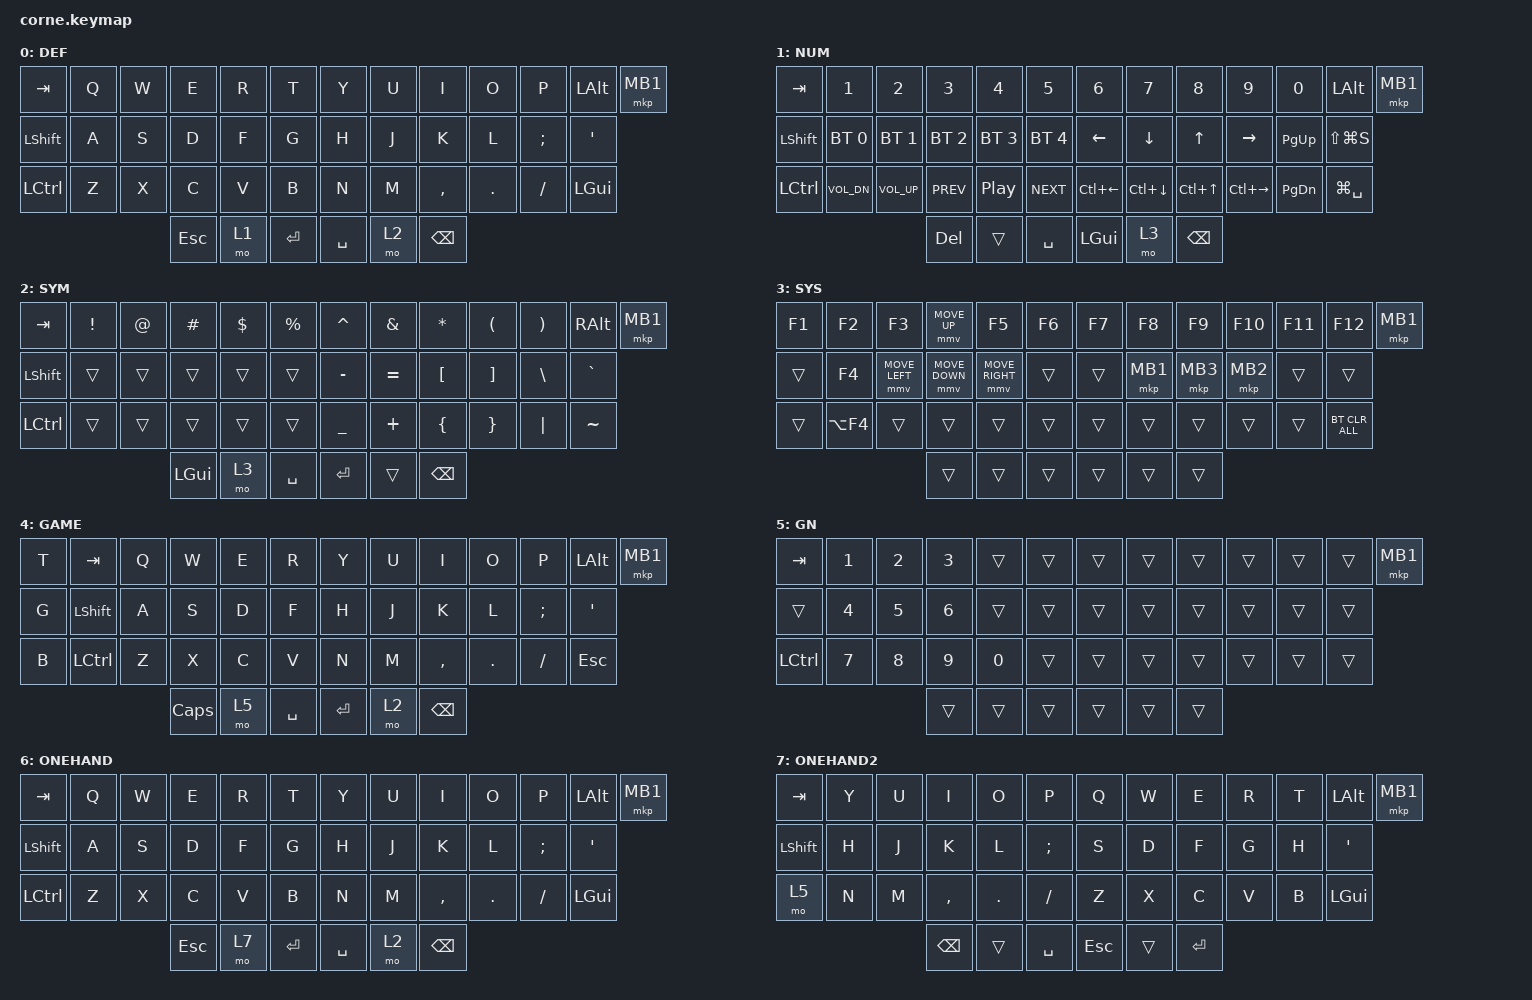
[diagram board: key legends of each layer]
/*
 * Copyright (c) 2020 The ZMK Contributors
 *
 * SPDX-License-Identifier: MIT
 */

#include <behaviors.dtsi>
#include <dt-bindings/zmk/bt.h>
#include <dt-bindings/zmk/keys.h>
#include <dt-bindings/zmk/pointing.h>

//&led_strip { chain-length = <27>; };

/ {
    macros {
        screenshot_mac_4: screenshot_mac_4 {
            compatible = "zmk,behavior-macro";
            #binding-cells = <0>;
            bindings = <&none>;
            label = "SCREENSHOT_MAC_4";
        };
    };

    combos {
        compatible = "zmk,combos";

        to_gaming {
            bindings = <&to 4>;
            key-positions = <12 13 14>;
        };

        to_first {
            bindings = <&to 0>;
            key-positions = <24 25 26>;
        };

        goto_onehand {
            bindings = <&to 6>;
            key-positions = <0 1 2>;
        };
    };

    keymap {
        compatible = "zmk,keymap";

        DEF {
            // -----------------------------------------------------------------------------------------
            // |  TAB |  Q  |  W  |  E  |  R  |  T  |   |  Y  |  U   |  I  |  O  |  P  | BKSP |
            // | CTRL |  A  |  S  |  D  |  F  |  G  |   |  H  |  J   |  K  |  L  |  ;  |  '   |
            // | SHFT |  Z  |  X  |  C  |  V  |  B  |   |  N  |  M   |  ,  |  .  |  /  | ESC  |
            //                    | GUI | LWR | SPC |   | ENT | RSE  | ALT |

            bindings = <
&kp TAB           &kp Q  &kp W  &kp E       &kp R  &kp T      &kp Y      &kp U  &kp I          &kp O    &kp P     &kp LEFT_ALT &mkp MB1 
&kp LEFT_SHIFT    &kp A  &kp S  &kp D       &kp F  &kp G      &kp H      &kp J  &kp K          &kp L    &kp SEMI  &kp SQT
&kp LEFT_CONTROL  &kp Z  &kp X  &kp C       &kp V  &kp B      &kp N      &kp M  &kp COMMA      &kp DOT  &kp FSLH  &kp LEFT_GUI
                                &kp ESCAPE  &mo 1  &kp RET    &kp SPACE  &mo 2  &kp BACKSPACE
            >;
        };

        NUM {
            // -----------------------------------------------------------------------------------------
            // |  TAB |  1  |  2  |  3  |  4  |  5  |   |  6  |  7  |  8  |  9  |  0  | BKSP |
            // | BTCLR| BT1 | BT2 | BT3 | BT4 | BT5 |   | LFT | DWN |  UP | RGT |     |      |
            // | SHFT |     |     |     |     |     |   |     |     |     |     |     |      |
            //                    | GUI |     | SPC |   | ENT |     | ALT |

            bindings = <
&kp TAB           &kp N1        &kp N2           &kp N3        &kp N4            &kp N5          &kp N6        &kp N7              &kp N8            &kp N9         &kp N0         &kp LEFT_ALT &mkp MB1 
&kp LEFT_SHIFT    &bt BT_SEL 0  &bt BT_SEL 1     &bt BT_SEL 2  &bt BT_SEL 3      &bt BT_SEL 4    &kp LEFT      &kp DOWN            &kp UP            &kp RIGHT      &kp PAGE_UP    &kp LS(LG(S))
&kp LEFT_CONTROL  &kp C_VOL_DN  &kp C_VOLUME_UP  &kp C_PREV    &kp C_PLAY_PAUSE  &kp C_NEXT      &kp LC(LEFT)  &kp LC(DOWN_ARROW)  &kp LC(UP_ARROW)  &kp LC(RIGHT)  &kp PAGE_DOWN  &kp LG(SPACE)
                                                 &kp DEL       &trans            &kp SPACE       &kp LEFT_GUI  &mo 3               &kp BACKSPACE
            >;
        };

        SYM {
            // -----------------------------------------------------------------------------------------
            // |  TAB |  !  |  @  |  #  |  $  |  %  |   |  ^  |  &  |  *  |  (  |  )  | BKSP |
            // | CTRL |     |     |     |     |     |   |  -  |  =  |  [  |  ]  |  \  |  `   |
            // | SHFT |     |     |     |     |     |   |  _  |  +  |  {  |  }  | "|" |  ~   |
            //                    | GUI |     | SPC |   | ENT |     | ALT |

            bindings = <
&kp TAB           &kp EXCL  &kp AT  &kp HASH  &kp DLLR  &kp PRCNT    &kp CARET  &kp AMPS   &kp ASTRK      &kp LPAR  &kp RPAR  &kp RIGHT_ALT &mkp MB1
&kp LEFT_SHIFT    &trans    &trans  &trans    &trans    &trans       &kp MINUS  &kp EQUAL  &kp LBKT       &kp RBKT  &kp BSLH  &kp GRAVE
&kp LEFT_CONTROL  &trans    &trans  &trans    &trans    &trans       &kp UNDER  &kp PLUS   &kp LBRC       &kp RBRC  &kp PIPE  &kp TILDE
                                    &kp LGUI  &mo 3     &kp SPACE    &kp RET    &trans     &kp BACKSPACE
            >;
        };

        SYS {
            bindings = <
&kp F1  &kp F2      &kp F3          &mmv MOVE_UP    &kp F5           &kp F6    &kp F7  &kp F8    &kp F9    &kp F10   &kp F11  &kp F12 &mkp MB1
&trans  &kp F4      &mmv MOVE_LEFT  &mmv MOVE_DOWN  &mmv MOVE_RIGHT  &trans    &trans  &mkp MB1  &mkp MB3  &mkp MB2  &trans   &trans
&trans  &kp LA(F4)  &trans          &trans          &trans           &trans    &trans  &trans    &trans    &trans    &trans   &bt BT_CLR_ALL
                                    &trans          &trans           &trans    &trans  &trans    &trans
            >;
        };

        GAME {
            bindings = <
&kp T  &kp TAB         &kp Q  &kp W         &kp E  &kp R        &kp Y    &kp U  &kp I          &kp O    &kp P     &kp LEFT_ALT &mkp MB1
&kp G  &kp LEFT_SHIFT  &kp A  &kp S         &kp D  &kp F        &kp H    &kp J  &kp K          &kp L    &kp SEMI  &kp SQT
&kp B  &kp LCTRL       &kp Z  &kp X         &kp C  &kp V        &kp N    &kp M  &kp COMMA      &kp DOT  &kp FSLH  &kp ESCAPE
                              &kp CAPSLOCK  &mo 5  &kp SPACE    &kp RET  &mo 2  &kp BACKSPACE
            >;
        };

        GN {
            bindings = <
&kp TAB           &kp NUMBER_1  &kp NUMBER_2  &kp NUMBER_3  &trans  &trans    &trans  &trans  &trans  &trans  &trans  &trans &mkp MB1 
&trans            &kp NUMBER_4  &kp N5        &kp NUMBER_6  &trans  &trans    &trans  &trans  &trans  &trans  &trans  &trans
&kp LEFT_CONTROL  &kp N7        &kp N8        &kp N9        &kp N0  &trans    &trans  &trans  &trans  &trans  &trans  &trans
                                              &trans        &trans  &trans    &trans  &trans  &trans
            >;
        };

        ONEHAND {
            bindings = <
&kp TAB           &kp Q  &kp W  &kp E       &kp R  &kp T      &kp Y      &kp U  &kp I          &kp O    &kp P     &kp LEFT_ALT &mkp MB1
&kp LEFT_SHIFT    &kp A  &kp S  &kp D       &kp F  &kp G      &kp H      &kp J  &kp K          &kp L    &kp SEMI  &kp SQT
&kp LEFT_CONTROL  &kp Z  &kp X  &kp C       &kp V  &kp B      &kp N      &kp M  &kp COMMA      &kp DOT  &kp FSLH  &kp LEFT_GUI
                                &kp ESCAPE  &mo 7  &kp RET    &kp SPACE  &mo 2  &kp BACKSPACE
            >;
        };

        ONEHAND2 {
            bindings = <
&kp TAB         &kp Y  &kp U  &kp I          &kp O    &kp P            &kp Q       &kp W   &kp E    &kp R  &kp T  &kp LEFT_ALT &mkp MB1
&kp LEFT_SHIFT  &kp H  &kp J  &kp K          &kp L    &kp SEMICOLON    &kp S       &kp D   &kp F    &kp G  &kp H  &kp SQT
&mo 5           &kp N  &kp M  &kp COMMA      &kp DOT  &kp FSLH         &kp Z       &kp X   &kp C    &kp V  &kp B  &kp LEFT_GUI
                              &kp BACKSPACE  &trans   &kp SPACE        &kp ESCAPE  &trans  &kp RET
            >;
        };
    };
};
